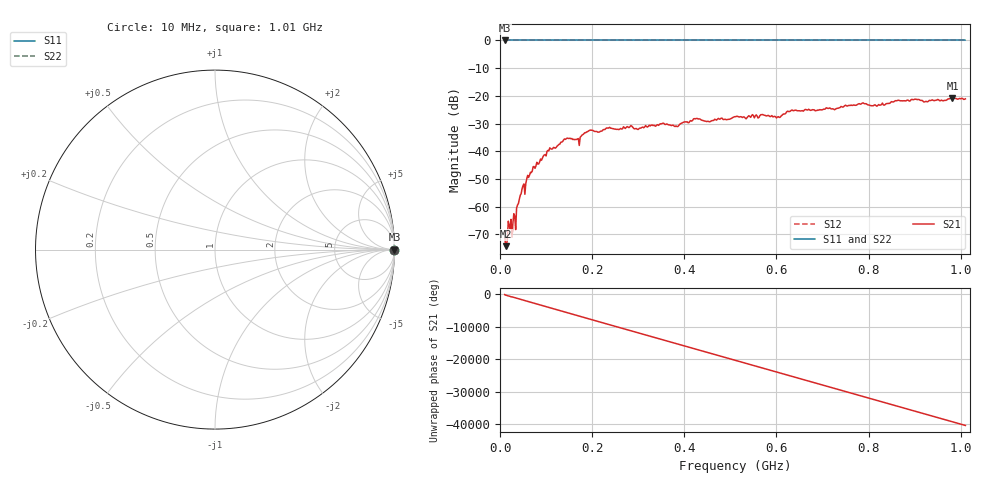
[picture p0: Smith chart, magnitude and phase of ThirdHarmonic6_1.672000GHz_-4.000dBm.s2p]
! 8/16/2025 8:02:54 PM
! C:\ANRITSUVNA\TEMP\TEMP.S2P
! CHANNEL.1
! TR.MEASUREMENT
! RAW.DATA
! RF.CORRECTION.OFF
! AVERAGING.OFF
! IF.BANDWIDTH: 5KHZ
! SWEEPTYPE:  FREQ.SWEEP(Linear)
! Reference Plane Port Info
! PORT:  PORT1  PORT2
! DISTANCE:  0  m  0  m
! TIME:  0  s  0  s
! PHASE.OFFSET:  0  deg.  0  deg.
! LOSS:  0  dB  0  dB
! REF.LOSS:  0  dB  0  dB
! REF.FREQ:  0  Hz  0  Hz
! Power Info
! POWER:  -20  dBm  -20  dBm
! EFF.POWER:  -20  dBm  -20  dBm
! SOURCE.ATTEN:  0  dB  0  dB
! TEST.ATTEN:  0  dB  0  dB
# GHZ S RI R 50.0
! FREQ.GHZ  S11RE  S11IM  S21RE  S21IM  S12RE  S12IM  S22RE  S22IM
!; PortSelection: Port_12
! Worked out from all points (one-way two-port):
!   501 points, 10 MHz to 1.01 GHz, reference 50 ohm
!   highest |S21| = -20.81 dB at 982 MHz (marker M1); lowest = -74.2 dB at 12 MHz (marker M2)
!   lowest |S11| = 0.0 dB at 10 MHz (marker M3)
!   |S11| at or under -10 dB: nowhere
!   |S22| runs from 0.0 to 0.0 dB; largest |S21 - S12| = 1.1
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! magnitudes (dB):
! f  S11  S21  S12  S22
! 10 MHz  0.0  -69.1  0.0  0.0
! 12 MHz  0.0  -74.2  0.0  0.0
! 20 MHz  0.0  -66.8  0.0  0.0
! 30 MHz  0.0  -62.5  0.0  0.0
! 48 MHz  0.0  -53.4  0.0  0.0
! 76 MHz  0.0  -46.1  0.0  0.0
! 106 MHz  0.0  -39.8  0.0  0.0
! 142 MHz  0.0  -35.7  0.0  0.0
! 168 MHz  0.0  -35.5  0.0  0.0
! 178 MHz  0.0  -34.2  0.0  0.0
! 234 MHz  0.0  -31.6  0.0  0.0
! 344 MHz  0.0  -30.6  0.0  0.0
! 382 MHz  0.0  -30.8  0.0  0.0
! 424 MHz  0.0  -28.3  0.0  0.0
! 452 MHz  0.0  -29.2  0.0  0.0
! 510 MHz  0.0  -27.5  0.0  0.0
! 604 MHz  0.0  -27.5  0.0  0.0
! 630 MHz  0.0  -25.5  0.0  0.0
! 678 MHz  0.0  -25.0  0.0  0.0
! 844 MHz  0.0  -22.7  0.0  0.0
! 982 MHz  0.0  -20.8  0.0  0.0
! 1.01 GHz  0.0  -21.1  0.0  0.0
